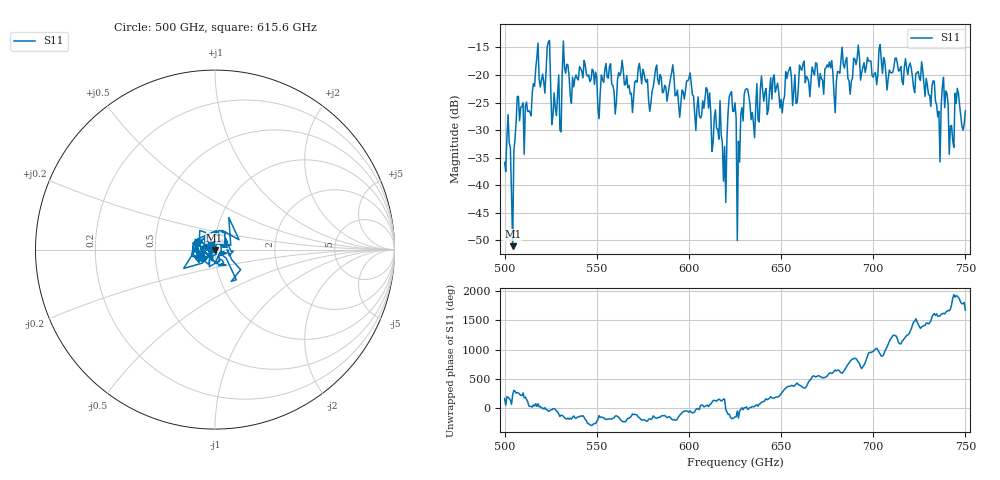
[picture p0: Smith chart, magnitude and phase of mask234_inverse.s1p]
!Created with skrf (http://scikit-rf.org).
# GHz S MA R 50.0
!freq magS11 angS11
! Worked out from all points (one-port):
!   401 points, 500 GHz to 750 GHz, reference 50 ohm
!   lowest |S11| = -51.1 dB at 504.4 GHz (marker M1), VSWR 1.01, Z = 49.8 - j0.194 ohm
!   |S11| at or under -10 dB: start of sweep to end of sweep
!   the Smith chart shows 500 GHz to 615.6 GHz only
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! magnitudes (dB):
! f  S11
! 500 GHz  -35.9
! 504.4 GHz  -51.1
! 507.5 GHz  -23.9
! 511.9 GHz  -24.9
! 516.9 GHz  -18.8
! 523.8 GHz  -14.0
! 526.9 GHz  -23.3
! 531.2 GHz  -19.7
! 533.1 GHz  -19.7
! 551.9 GHz  -23.3
! 562.5 GHz  -20.1
! 593.8 GHz  -22.7
! 610 GHz  -22.7
! 619.4 GHz  -33.0
! 623.1 GHz  -23.0
! 625 GHz  -25.1
! 627.5 GHz  -35.8
! 631.2 GHz  -22.5
! 635 GHz  -28.7
! 656.2 GHz  -25.6
! 687.5 GHz  -23.5
! 690.6 GHz  -18.1
! 718.8 GHz  -19.9
! 735 GHz  -27.6
! 738.8 GHz  -25.9
! 742.5 GHz  -29.2
! 745.6 GHz  -22.4
! 750 GHz  -26.5
